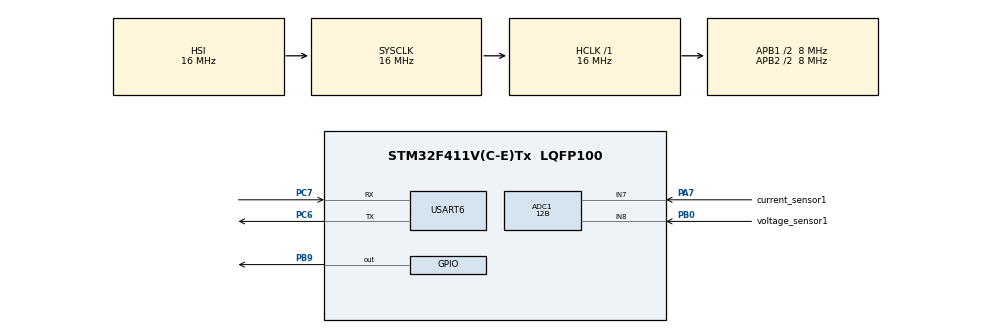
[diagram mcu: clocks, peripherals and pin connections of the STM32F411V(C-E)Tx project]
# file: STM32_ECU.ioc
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ADC1.Channel-0\#ChannelRegularConversion=ADC_CHANNEL_7
ADC1.Channel-1\#ChannelRegularConversion=ADC_CHANNEL_8
ADC1.Channel-2\#ChannelRegularConversion=ADC_CHANNEL_TEMPSENSOR
ADC1.ClockPrescaler=ADC_CLOCK_SYNC_PCLK_DIV8
ADC1.ContinuousConvMode=ENABLE
ADC1.DMAContinuousRequests=ENABLE
ADC1.EOCSelection=ADC_EOC_SINGLE_CONV
ADC1.NbrOfConversion=3
ADC1.NbrOfConversionFlag=1
ADC1.Rank-0\#ChannelRegularConversion=1
ADC1.Rank-1\#ChannelRegularConversion=2
ADC1.Rank-2\#ChannelRegularConversion=3
ADC1.Resolution=ADC_RESOLUTION_12B
ADC1.SamplingTime-0\#ChannelRegularConversion=ADC_SAMPLETIME_480CYCLES
ADC1.SamplingTime-1\#ChannelRegularConversion=ADC_SAMPLETIME_480CYCLES
ADC1.SamplingTime-2\#ChannelRegularConversion=ADC_SAMPLETIME_480CYCLES
ADC1.ScanConvMode=ENABLE
ADC1.master=1
Dma.ADC1.0.Direction=DMA_PERIPH_TO_MEMORY
Dma.ADC1.0.FIFOMode=DMA_FIFOMODE_DISABLE
Dma.ADC1.0.Instance=DMA2_Stream0
Dma.ADC1.0.MemDataAlignment=DMA_MDATAALIGN_HALFWORD
Dma.ADC1.0.MemInc=DMA_MINC_ENABLE
Dma.ADC1.0.Mode=DMA_CIRCULAR
Dma.ADC1.0.PeriphDataAlignment=DMA_PDATAALIGN_HALFWORD
Dma.ADC1.0.PeriphInc=DMA_PINC_DISABLE
Dma.ADC1.0.Priority=DMA_PRIORITY_LOW
Dma.Request0=ADC1
Dma.Request1=USART6_RX
Dma.USART6_RX.1.Direction=DMA_PERIPH_TO_MEMORY
Dma.USART6_RX.1.FIFOMode=DMA_FIFOMODE_DISABLE
Dma.USART6_RX.1.Instance=DMA2_Stream1
Dma.USART6_RX.1.MemDataAlignment=DMA_MDATAALIGN_BYTE
Dma.USART6_RX.1.MemInc=DMA_MINC_ENABLE
Dma.USART6_RX.1.Mode=DMA_CIRCULAR
Dma.USART6_RX.1.PeriphDataAlignment=DMA_PDATAALIGN_BYTE
Dma.USART6_RX.1.PeriphInc=DMA_PINC_DISABLE
Dma.USART6_RX.1.Priority=DMA_PRIORITY_LOW
Mcu.Family=STM32F4
Mcu.Name=STM32F411V(C-E)Tx
Mcu.Package=LQFP100
NVIC.DMA2_Stream0_IRQn=true\:0\:0\:false\:false\:true\:false\:true\:true
NVIC.DMA2_Stream1_IRQn=true\:0\:0\:false\:false\:true\:false\:true\:true
NVIC.PriorityGroup=NVIC_PRIORITYGROUP_4
PA7.GPIO_Label=current_sensor1
PA7.Signal=ADCx_IN7
PB0.GPIO_Label=voltage_sensor1
PB0.Signal=ADCx_IN8
PB9.Signal=GPIO_Output
PC6.Mode=Asynchronous
PC6.Signal=USART6_TX
PC7.Mode=Asynchronous
PC7.Signal=USART6_RX
PH0\ -\ OSC_IN.Mode=HSE-External-Oscillator
PH0\ -\ OSC_IN.Signal=RCC_OSC_IN
PH1\ -\ OSC_OUT.Mode=HSE-External-Oscillator
PH1\ -\ OSC_OUT.Signal=RCC_OSC_OUT
ProjectManager.HeapSize=0x200
ProjectManager.StackSize=0x400
ProjectManager.TargetToolchain=STM32CubeIDE
RCC.48MHZClocksFreq_Value=36000000
RCC.AHBFreq_Value=16000000
RCC.APB1CLKDivider=RCC_HCLK_DIV2
RCC.APB1Freq_Value=8000000
RCC.APB1TimFreq_Value=16000000
RCC.APB2CLKDivider=RCC_HCLK_DIV2
RCC.APB2Freq_Value=8000000
RCC.APB2TimFreq_Value=16000000
RCC.CortexFreq_Value=16000000
RCC.HCLKFreq_Value=16000000
RCC.HSE_VALUE=25000000
RCC.HSI_VALUE=16000000
RCC.LSE_VALUE=32768
RCC.PLLM=8
RCC.PLLN=72
RCC.SYSCLKFreq_VALUE=16000000
RCC.VCOOutputFreq_Value=144000000
SH.ADCx_IN7.0=ADC1_IN7,IN7
SH.ADCx_IN8.0=ADC1_IN8,IN8
TIM1.Prescaler=11
USART6.VirtualMode=VM_ASYNC
VP_ADC1_TempSens_Input.Mode=IN-TempSens
VP_ADC1_Vref_Input.Mode=IN-Vrefint
VP_TIM1_VS_ClockSourceINT.Mode=Internal
board=custom

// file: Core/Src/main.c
/* USER CODE BEGIN Header */
/**
  ******************************************************************************
  * @file           : main.c
  * @brief          : Main program body
  ******************************************************************************
  * @attention
  *
  * Copyright (c) 2022 STMicroelectronics.
  * All rights reserved.
  *
  * This software is licensed under terms that can be found in the LICENSE file
  * in the root directory of this software component.
  * If no LICENSE file comes with this software, it is provided AS-IS.
  *
  ******************************************************************************
  */
/* USER CODE END Header */
#include "main.h"

/* USER CODE BEGIN Includes */
#include <stdio.h>
#include <string.h>
#include <stdbool.h>
#include <math.h>
#include <stdlib.h>

/* USER CODE END Includes */

ADC_HandleTypeDef hadc1;
DMA_HandleTypeDef hdma_adc1;

TIM_HandleTypeDef htim1;

UART_HandleTypeDef huart6;
DMA_HandleTypeDef hdma_usart6_rx;

void SystemClock_Config(void);
static void MX_GPIO_Init(void);
static void MX_DMA_Init(void);
static void MX_ADC1_Init(void);
static void MX_USART6_UART_Init(void);
static void MX_TIM1_Init(void);

/* USER CODE BEGIN 0 */
uint16_t adcValArray [3];    //array of 3 elements because I activated only 3 ADC channels. every channel has one sensor reading.
uint16_t voltage_sensor1;
uint16_t voltage_sensor2;
int current_sensor1;
float output_voltage;
float current , true_read_digital_current;
float voltage;
uint16_t digital_read_internal_temp_sensor;

float internal_temp_sensor;
bool flag = false;

uint16_t battery_temperature;
char rxdata [6];
float  Cell1_State_of_charge;
int Cell1_State_of_health;
/*******************Start setup code of DHT22*************************/
#define DHT22_PORT GPIOB
#define DHT22_PIN GPIO_PIN_9
uint8_t RH1, RH2, TC1, TC2, SUM, CHECK;
uint32_t pMillis, cMillis;
float tCelsius = 0;
float tFahrenheit = 0;
float RH = 0;

void microDelay (uint16_t delay)
{
  __HAL_TIM_SET_COUNTER(&htim1, 0);
  while (__HAL_TIM_GET_COUNTER(&htim1) < delay);
}

uint8_t DHT22_Start (void)
{
  uint8_t Response = 0;
  GPIO_InitTypeDef GPIO_InitStructPrivate = {0};
  GPIO_InitStructPrivate.Pin = DHT22_PIN;
  GPIO_InitStructPrivate.Mode = GPIO_MODE_OUTPUT_PP;
  GPIO_InitStructPrivate.Speed = GPIO_SPEED_FREQ_LOW;
  GPIO_InitStructPrivate.Pull = GPIO_NOPULL;
  HAL_GPIO_Init(DHT22_PORT, &GPIO_InitStructPrivate); // set the pin as output
  HAL_GPIO_WritePin (DHT22_PORT, DHT22_PIN, 0);   // pull the pin low
  microDelay (1300);   // wait for 1300us
  HAL_GPIO_WritePin (DHT22_PORT, DHT22_PIN, 1);   // pull the pin high
  microDelay (30);   // wait for 30us
  GPIO_InitStructPrivate.Mode = GPIO_MODE_INPUT;
  GPIO_InitStructPrivate.Pull = GPIO_PULLUP;
  HAL_GPIO_Init(DHT22_PORT, &GPIO_InitStructPrivate); // set the pin as input
  microDelay (40);
  if (!(HAL_GPIO_ReadPin (DHT22_PORT, DHT22_PIN)))
  {
    microDelay (80);
    if ((HAL_GPIO_ReadPin (DHT22_PORT, DHT22_PIN))) Response = 1;
  }
  pMillis = HAL_GetTick();
  cMillis = HAL_GetTick();
  while ((HAL_GPIO_ReadPin (DHT22_PORT, DHT22_PIN)) && pMillis + 2 > cMillis)
  {
    cMillis = HAL_GetTick();
  }
  return Response;
}

uint8_t DHT22_Read (void)
{
  uint8_t a,b;
  for (a=0;a<8;a++)
  {
    pMillis = HAL_GetTick();
    cMillis = HAL_GetTick();
    while (!(HAL_GPIO_ReadPin (DHT22_PORT, DHT22_PIN)) && pMillis + 2 > cMillis)
    {  // wait for the pin to go high
      cMillis = HAL_GetTick();
    }
    microDelay (40);   // wait for 40 us
    if (!(HAL_GPIO_ReadPin (DHT22_PORT, DHT22_PIN)))   // if the pin is low
      b&= ~(1<<(7-a));
    else
      b|= (1<<(7-a));
    pMillis = HAL_GetTick();
    cMillis = HAL_GetTick();
    while ((HAL_GPIO_ReadPin (DHT22_PORT, DHT22_PIN)) && pMillis + 2 > cMillis)
    {  // wait for the pin to go low
      cMillis = HAL_GetTick();
    }
  }
  return b;
}
/*******************End setup code of DHT22*************************/

/* USER CODE END 0 */

int main(void)
{

  /* MCU Configuration--------------------------------------------------------*/

  /* Reset of all peripherals, Initializes the Flash interface and the Systick. */
  HAL_Init();

  /* Configure the system clock */
  SystemClock_Config();

  /* Initialize all configured peripherals */
  MX_GPIO_Init();
  MX_DMA_Init();
  MX_ADC1_Init();
  MX_USART6_UART_Init();
  MX_TIM1_Init();
  /* USER CODE BEGIN 2 */
  /************* Start the code of start the ADC conversion process*****************/
  HAL_ADC_Start_DMA(&hadc1,(uint32_t *) adcValArray,3);
  /************* End the code of start the ADC conversion process*****************/
  /************* Start the code of start timer_1 for DHT22 *****************/
  HAL_TIM_Base_Start(&htim1);
  /************* End the code of start timer_1 for DHT22 *****************/

  /************* Start the code of UART receive *****************/
 //************* Start the code of UART receive *****************/
  HAL_UART_Receive_DMA (&huart6,(uint8_t *) rxdata,sizeof(rxdata));
  	 //soc = atoi (rxdata);
 //************* End the code of UART receive *****************/

  /************* Start the code of get the temperature sensor reading*****************/
uint16_t get_temperature_sensor ()
{
	if(DHT22_Start())
	    {
	      RH1 = DHT22_Read(); // First 8bits of humidity
	      RH2 = DHT22_Read(); // Second 8bits of Relative humidity
	      TC1 = DHT22_Read(); // First 8bits of Celsius
	      TC2 = DHT22_Read(); // Second 8bits of Celsius
	      SUM = DHT22_Read(); // Check sum
	      CHECK = RH1 + RH2 + TC1 + TC2;
	      if (CHECK == SUM)
	      {
	        if (TC1>127) // If TC1=10000000, negative temp rature
	        {
	          tCelsius = (float)TC2/10*(-1);
	        }
	        else
	        {
	          tCelsius = (float)((TC1<<8)|TC2)/10;
	        }
	        tFahrenheit = tCelsius * 9/5 + 32;
	        RH = (float) ((RH1<<8)|RH2)/10;
	      }
	    }
	  HAL_Delay(1000);
	  uint16_t trmperature_celsius = (uint16_t) (tCelsius*10);
	  return trmperature_celsius;

}
  /************* End the code of get the temperature sensor reading*****************/

  /************* Start the code of get the current sensor reading*****************/
int  current_sensor ()
 {
	 const uint16_t samples = 10;
	 int ADC_error = 371;
	 float current_sensor_sensitivity = 0.4;                // from the data sheet of current sensor the sensitivity = 400 mV/A.
	 uint16_t read_digital_current;
	 /*****for loop to get the average value of the sensor output, to increase the accuracy.***/
	 for (int i = 0; i < samples; i++)
	   {

		 read_digital_current += (adcValArray [0] - ADC_error);
	     HAL_Delay(10);                         // wait 10 milliseconds before the next loop.
	   }
      /******** End for loop******************************/
	 true_read_digital_current = read_digital_current / samples;
	 output_voltage = (float) true_read_digital_current*3.3/ 4095;
	 read_digital_current = 0;                        // Initialize the reading value to zero for the next process.

	 current =(output_voltage - 2.364)/current_sensor_sensitivity ;          // 2.5 at Vcc= 5 V and temperature = 25° C .
	 if( current <= 0.02 && current >= -0.01)
	 {
		 current = 0;
	 }

	 int current_to_send = (int) (1000*current);

	 return current_to_send;
  }

 /*int  current_sensor (uint16_t read_digital_current)
 {
	 float current_sensor_error;
	 float current_sens_sensitivity = 0.066;
	 output_voltage = (float) read_digital_current*3.3*2/ 4095;
	     // calibration the current sensor  accuracy.
	 /*if (internal_temp_sensor >= -25  && internal_temp_sensor < 25){
		 current_sensor_error = -0.004 *internal_temp_sensor + 0.3;
	 }
	 else if (internal_temp_sensor >= 25 && internal_temp_sensor < 85){
		 current_sensor_error = 0.01 *internal_temp_sensor + 0.05;
	 }*/

	 /*float true_output_voltage= output_voltage * (1-0.2);    //0.2 is the current_sensor_error.
	 current =(true_output_voltage - 2.5)/current_sens_sensitivity ;  // from the data sheet of current sensor in case of Ip=30, the sensitivity = 66 mV/A.

	 int current_to_send = (int) (1000*current)/20;  // (20)only to calibrate the value (it should be changed)

     return current_to_send;
  }*/
 /************* End the code of get the current sensor reading*****************/

 uint16_t  voltage_sensor (uint16_t read_digital_voltage)
  {
 	 float ADC_error = 0.89;
 	 float voltage_sens_sensitivity = 0.2;
 	 uint16_t true_digital_voltage = read_digital_voltage;
 	 voltage = (float) 1000*true_digital_voltage *3.3/voltage_sens_sensitivity*ADC_error/4095;
 	 uint16_t voltageToSend = (uint16_t) voltage;
 	 /*if (voltageToSend > 1500)
 	 {
 		voltageToSend = 1500;
 	 }*/

     return voltageToSend;
   }
 /****************************************************/
 void uart_uint16_transmit (char ID, uint16_t data_to_send)
 {

	 char  txdata [35];
	 sprintf(txdata, "%c%u \r\n", ID,data_to_send);
	 HAL_UART_Transmit(&huart6,(uint8_t *) txdata, strlen(txdata), 10);
	 //HAL_Delay(500);
   }
/*************************************************************/
 void uart_current_transmit (char ID, int data_to_send)
  {

 	 char  txdata [35];
 	 sprintf(txdata, "%c%d \r\n", ID,data_to_send);
 	 HAL_UART_Transmit(&huart6,(uint8_t *) txdata, strlen(txdata), 10);
 	 //HAL_Delay(500);
    }
 /***********************************************************/

  /* USER CODE END 2 */

  /* Infinite loop */
  while (1)
  {

    /* USER CODE BEGIN 3 */

	  /********* Start code of reading the internal temperature sensor to adjust the output voltage of the current sensor*************/
	  digital_read_internal_temp_sensor = adcValArray [2];
	  float Vout_internal_temp_sensor = (float) digital_read_internal_temp_sensor*3.3/4095;
	  float error = 0.081;
	  internal_temp_sensor = (Vout_internal_temp_sensor- error - 0.76) / 0.0025 + 25;               // 0.76
	  /********* End code of reading the internal temperature sensor to adjust the output voltage of the current sensor*************/

	  /*if (flag == false){
	  		  HAL_Delay(5000);                       // wait for 5 seconds to let the ADC get the true right value
	  		  flag= true;
	  	  }*/

	  //current_sensor1 = current_sensor (adcValArray [0]);
	  current_sensor1 = current_sensor ();
	  voltage_sensor1 = voltage_sensor (adcValArray [1]);
	  battery_temperature = get_temperature_sensor ();

	  uart_uint16_transmit ('a',voltage_sensor1);
	  HAL_Delay(1000);

	  uart_uint16_transmit ('t',battery_temperature);
	  	  HAL_Delay(1000);

	 // uart_voltage_transmit ('b',voltage_sensor2);
	  //HAL_Delay(1000);

	  uart_current_transmit ('i',current_sensor1);
	  HAL_Delay(1000);

  }
  /* USER CODE END 3 */
}

void SystemClock_Config(void)
{
  RCC_OscInitTypeDef RCC_OscInitStruct = {0};
  RCC_ClkInitTypeDef RCC_ClkInitStruct = {0};

  /** Configure the main internal regulator output voltage
  */
  __HAL_RCC_PWR_CLK_ENABLE();
  __HAL_PWR_VOLTAGESCALING_CONFIG(PWR_REGULATOR_VOLTAGE_SCALE1);

  /** Initializes the RCC Oscillators according to the specified parameters
  * in the RCC_OscInitTypeDef structure.
  */
  RCC_OscInitStruct.OscillatorType = RCC_OSCILLATORTYPE_HSI;
  RCC_OscInitStruct.HSIState = RCC_HSI_ON;
  RCC_OscInitStruct.HSICalibrationValue = RCC_HSICALIBRATION_DEFAULT;
  RCC_OscInitStruct.PLL.PLLState = RCC_PLL_NONE;
  if (HAL_RCC_OscConfig(&RCC_OscInitStruct) != HAL_OK)
  {
    Error_Handler();
  }

  /** Initializes the CPU, AHB and APB buses clocks
  */
  RCC_ClkInitStruct.ClockType = RCC_CLOCKTYPE_HCLK|RCC_CLOCKTYPE_SYSCLK
                              |RCC_CLOCKTYPE_PCLK1|RCC_CLOCKTYPE_PCLK2;
  RCC_ClkInitStruct.SYSCLKSource = RCC_SYSCLKSOURCE_HSI;
  RCC_ClkInitStruct.AHBCLKDivider = RCC_SYSCLK_DIV1;
  RCC_ClkInitStruct.APB1CLKDivider = RCC_HCLK_DIV2;
  RCC_ClkInitStruct.APB2CLKDivider = RCC_HCLK_DIV2;

  if (HAL_RCC_ClockConfig(&RCC_ClkInitStruct, FLASH_LATENCY_0) != HAL_OK)
  {
    Error_Handler();
  }
}

static void MX_ADC1_Init(void)
{

  ADC_ChannelConfTypeDef sConfig = {0};

  /** Configure the global features of the ADC (Clock, Resolution, Data Alignment and number of conversion)
  */
  hadc1.Instance = ADC1;
  hadc1.Init.ClockPrescaler = ADC_CLOCK_SYNC_PCLK_DIV8;
  hadc1.Init.Resolution = ADC_RESOLUTION_12B;
  hadc1.Init.ScanConvMode = ENABLE;
  hadc1.Init.ContinuousConvMode = ENABLE;
  hadc1.Init.DiscontinuousConvMode = DISABLE;
  hadc1.Init.ExternalTrigConvEdge = ADC_EXTERNALTRIGCONVEDGE_NONE;
  hadc1.Init.ExternalTrigConv = ADC_SOFTWARE_START;
  hadc1.Init.DataAlign = ADC_DATAALIGN_RIGHT;
  hadc1.Init.NbrOfConversion = 3;
  hadc1.Init.DMAContinuousRequests = ENABLE;
  hadc1.Init.EOCSelection = ADC_EOC_SINGLE_CONV;
  if (HAL_ADC_Init(&hadc1) != HAL_OK)
  {
    Error_Handler();
  }

  /** Configure for the selected ADC regular channel its corresponding rank in the sequencer and its sample time.
  */
  sConfig.Channel = ADC_CHANNEL_7;
  sConfig.Rank = 1;
  sConfig.SamplingTime = ADC_SAMPLETIME_480CYCLES;
  if (HAL_ADC_ConfigChannel(&hadc1, &sConfig) != HAL_OK)
  {
    Error_Handler();
  }

  /** Configure for the selected ADC regular channel its corresponding rank in the sequencer and its sample time.
  */
  sConfig.Channel = ADC_CHANNEL_8;
  sConfig.Rank = 2;
  if (HAL_ADC_ConfigChannel(&hadc1, &sConfig) != HAL_OK)
  {
    Error_Handler();
  }

  /** Configure for the selected ADC regular channel its corresponding rank in the sequencer and its sample time.
  */
  sConfig.Channel = ADC_CHANNEL_TEMPSENSOR;
  sConfig.Rank = 3;
  if (HAL_ADC_ConfigChannel(&hadc1, &sConfig) != HAL_OK)
  {
    Error_Handler();
  }

}

static void MX_TIM1_Init(void)
{

  TIM_ClockConfigTypeDef sClockSourceConfig = {0};
  TIM_MasterConfigTypeDef sMasterConfig = {0};

  htim1.Instance = TIM1;
  htim1.Init.Prescaler = 11;
  htim1.Init.CounterMode = TIM_COUNTERMODE_UP;
  htim1.Init.Period = 65535;
  htim1.Init.ClockDivision = TIM_CLOCKDIVISION_DIV1;
  htim1.Init.RepetitionCounter = 0;
  htim1.Init.AutoReloadPreload = TIM_AUTORELOAD_PRELOAD_DISABLE;
  if (HAL_TIM_Base_Init(&htim1) != HAL_OK)
  {
    Error_Handler();
  }
  sClockSourceConfig.ClockSource = TIM_CLOCKSOURCE_INTERNAL;
  if (HAL_TIM_ConfigClockSource(&htim1, &sClockSourceConfig) != HAL_OK)
  {
    Error_Handler();
  }
  sMasterConfig.MasterOutputTrigger = TIM_TRGO_RESET;
  sMasterConfig.MasterSlaveMode = TIM_MASTERSLAVEMODE_DISABLE;
  if (HAL_TIMEx_MasterConfigSynchronization(&htim1, &sMasterConfig) != HAL_OK)
  {
    Error_Handler();
  }

}

static void MX_USART6_UART_Init(void)
{

  huart6.Instance = USART6;
  huart6.Init.BaudRate = 115200;
  huart6.Init.WordLength = UART_WORDLENGTH_8B;
  huart6.Init.StopBits = UART_STOPBITS_1;
  huart6.Init.Parity = UART_PARITY_NONE;
  huart6.Init.Mode = UART_MODE_TX_RX;
  huart6.Init.HwFlowCtl = UART_HWCONTROL_NONE;
  huart6.Init.OverSampling = UART_OVERSAMPLING_16;
  if (HAL_UART_Init(&huart6) != HAL_OK)
  {
    Error_Handler();
  }

}

static void MX_DMA_Init(void)
{

  /* DMA controller clock enable */
  __HAL_RCC_DMA2_CLK_ENABLE();

  /* DMA interrupt init */
  /* DMA2_Stream0_IRQn interrupt configuration */
  HAL_NVIC_SetPriority(DMA2_Stream0_IRQn, 0, 0);
  HAL_NVIC_EnableIRQ(DMA2_Stream0_IRQn);
  /* DMA2_Stream1_IRQn interrupt configuration */
  HAL_NVIC_SetPriority(DMA2_Stream1_IRQn, 0, 0);
  HAL_NVIC_EnableIRQ(DMA2_Stream1_IRQn);

}

static void MX_GPIO_Init(void)
{
  GPIO_InitTypeDef GPIO_InitStruct = {0};

  /* GPIO Ports Clock Enable */
  __HAL_RCC_GPIOH_CLK_ENABLE();
  __HAL_RCC_GPIOA_CLK_ENABLE();
  __HAL_RCC_GPIOB_CLK_ENABLE();
  __HAL_RCC_GPIOC_CLK_ENABLE();

  /*Configure GPIO pin Output Level */
  HAL_GPIO_WritePin(GPIOB, GPIO_PIN_9, GPIO_PIN_RESET);

  /*Configure GPIO pin : PB9 */
  GPIO_InitStruct.Pin = GPIO_PIN_9;
  GPIO_InitStruct.Mode = GPIO_MODE_OUTPUT_PP;
  GPIO_InitStruct.Pull = GPIO_NOPULL;
  GPIO_InitStruct.Speed = GPIO_SPEED_FREQ_LOW;
  HAL_GPIO_Init(GPIOB, &GPIO_InitStruct);

}

/* USER CODE BEGIN 4 */
/********** Start of UART receive callback function***************/
void HAL_UART_RxCpltCallback(UART_HandleTypeDef *huart)
{
  /* Prevent unused argument(s) compilation warning */
  UNUSED(huart);
  /* NOTE: This function should not be modified, when the callback is needed,
           the HAL_UART_RxCpltCallback could be implemented in the user file
   */
  if (rxdata[0] == 's')
  {
	  rxdata[0]=' ';
	  char cell1_soc [6];
	  sprintf(cell1_soc,"%s",rxdata);
	  Cell1_State_of_charge = atof (cell1_soc);
	  //Cell1_State_of_charge = round(Cell1_State_of_charge*100) / 100;
	  //float socf = (float) soc/100.00;
	  //Cell1_State_of_charge = soc/100;
  }
  else if (rxdata[0] == 'h')
    {
  	  rxdata[0]=' ';
  	  char cell1_soh [6];
  	  sprintf(cell1_soh,"%s",rxdata);
  	  Cell1_State_of_health = (atoi (cell1_soh))/1000;

    }
  else if (rxdata[0] == 'e')
  {
	  rxdata[0]=' ';
	  char error [6];
	  sprintf(error,"%s",rxdata);
	  int int_error = atoi (error);
	  if (int_error == 1){
		  printf("make sure the current sensor_1 is connected!");
	  }
	  else if (int_error == 5){
		  printf("Please, replace the cell_1 with a new one!");
	  }
  }

}
/********** End of UART receive callback function***************/
/**********Start of  Check the ID of the sensor reading, then convert it to the true value without the ID (the ID is the first char).**************/
/*switch (rxdata[0]) {   //check the ID of the received data, then convert it to the true value without the ID (the ID is the first char).
          case 's':
              {
            	  rxdata[0]=' ';
                  char cell1_soc [4];
                  sprintf(cell1_soc,"%s",rxdata);
                  int soc = atoi (cell1_soc);
                  float socf = (float) soc/100;
                  Cell1_State_of_charge = roundf(socf*100) / 100;
              }
              break;
          /*default:
                      // if frist charackter doesn't match any case )

                      //do something;
                      break;*/
/********** End of  Check the ID of the sensor reading, then convert it to the true value without the ID (the ID is the first char).**************/
/* USER CODE END 4 */

void Error_Handler(void)
{
  __disable_irq();
  while (1)
  {
  }
}
